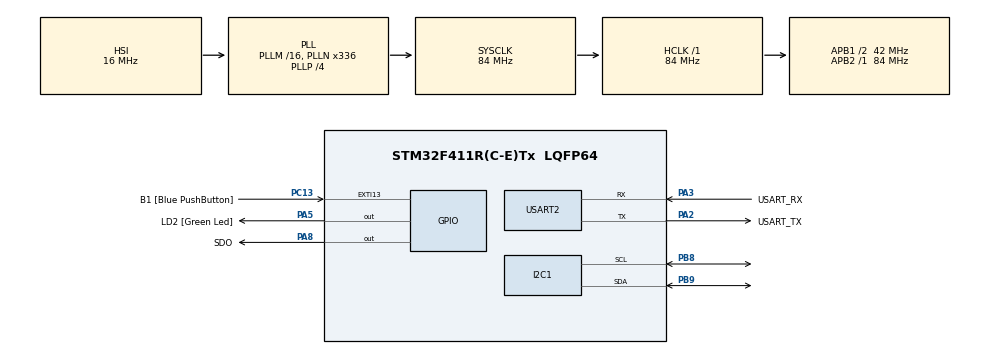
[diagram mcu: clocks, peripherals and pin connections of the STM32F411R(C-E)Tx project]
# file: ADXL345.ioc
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Mcu.Family=STM32F4
Mcu.Name=STM32F411R(C-E)Tx
Mcu.Package=LQFP64
NVIC.PriorityGroup=NVIC_PRIORITYGROUP_0
PA13.GPIO_Label=TMS
PA13.Mode=Serial_Wire
PA13.Signal=SYS_JTMS-SWDIO
PA14.GPIO_Label=TCK
PA14.Mode=Serial_Wire
PA14.Signal=SYS_JTCK-SWCLK
PA2.GPIO_Label=USART_TX
PA2.Mode=Asynchronous
PA2.Signal=USART2_TX
PA3.GPIO_Label=USART_RX
PA3.Mode=Asynchronous
PA3.Signal=USART2_RX
PA5.GPIO_Label=LD2 [Green Led]
PA5.Signal=GPIO_Output
PA8.GPIO_Label=SDO
PA8.Signal=GPIO_Output
PB3.GPIO_Label=SWO
PB3.Signal=SYS_JTDO-SWO
PB8.Mode=I2C
PB8.Signal=I2C1_SCL
PB9.Mode=I2C
PB9.Signal=I2C1_SDA
PC13-ANTI_TAMP.GPIO_Label=B1 [Blue PushButton]
PC13-ANTI_TAMP.GPIO_ModeDefaultEXTI=GPIO_MODE_IT_FALLING
PC13-ANTI_TAMP.Signal=GPXTI13
PC14-OSC32_IN.Mode=LSE-External-Oscillator
PC14-OSC32_IN.Signal=RCC_OSC32_IN
PC15-OSC32_OUT.Mode=LSE-External-Oscillator
PC15-OSC32_OUT.Signal=RCC_OSC32_OUT
PH0\ -\ OSC_IN.Mode=HSE-External-Clock-Source
PH0\ -\ OSC_IN.Signal=RCC_OSC_IN
PH1\ -\ OSC_OUT.Mode=HSE-External-Clock-Source
PH1\ -\ OSC_OUT.Signal=RCC_OSC_OUT
ProjectManager.HeapSize=0x200
ProjectManager.StackSize=0x400
ProjectManager.TargetToolchain=STM32CubeIDE
RCC.48MHZClocksFreq_Value=84000000
RCC.AHBFreq_Value=84000000
RCC.APB1CLKDivider=RCC_HCLK_DIV2
RCC.APB1Freq_Value=42000000
RCC.APB1TimFreq_Value=84000000
RCC.APB2Freq_Value=84000000
RCC.APB2TimFreq_Value=84000000
RCC.CortexFreq_Value=84000000
RCC.FLatency-AdvancedSettings=FLASH_LATENCY_2
RCC.HCLKFreq_Value=84000000
RCC.HSE_VALUE=8000000
RCC.HSI_VALUE=16000000
RCC.PLLN=336
RCC.PLLP=RCC_PLLP_DIV4
RCC.SYSCLKFreq_VALUE=84000000
RCC.SYSCLKSource=RCC_SYSCLKSOURCE_PLLCLK
RCC.VCOOutputFreq_Value=336000000
USART2.VirtualMode=VM_ASYNC
board=NUCLEO-F411RE

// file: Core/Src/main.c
/* USER CODE BEGIN Header */
/**
  ******************************************************************************
  * @file           : main.c
  * @brief          : Main program body
  ******************************************************************************
  * @attention
  *
  * Copyright (c) 2026 STMicroelectronics.
  * All rights reserved.
  *
  * This software is licensed under terms that can be found in the LICENSE file
  * in the root directory of this software component.
  * If no LICENSE file comes with this software, it is provided AS-IS.
  *
  ******************************************************************************
  */
/* USER CODE END Header */
#include "main.h"
#include "i2c.h"
#include "usart.h"
#include "gpio.h"

/* USER CODE BEGIN Includes */
#include <stdio.h>
#include "adxl345.h"
/* USER CODE END Includes */

/* USER CODE BEGIN PV */
uint8_t Buffer[25] = {0};
int16_t x, y, z;
/* USER CODE END PV */

void SystemClock_Config(void);

int main(void)
{

  /* USER CODE BEGIN 1 */
	// определяем где выполняется программа, и корректируем расположение
	// таблицы векторов
	uint32_t retPCasm(void); // небольшая функция для определения где
	// выполняется программа в FLASH или RAM
	if ((retPCasm() & 0x20000000) != 0)
	{
		*((uint32_t *)0xe000ed08) = 0x20000000; /* FlagDebugInRAM=1;*/
	}

  /* USER CODE END 1 */

  /* MCU Configuration--------------------------------------------------------*/

  /* Reset of all peripherals, Initializes the Flash interface and the Systick. */
  HAL_Init();

  /* Configure the system clock */
  SystemClock_Config();

  /* Initialize all configured peripherals */
  MX_GPIO_Init();
  MX_I2C1_Init();
  MX_USART2_UART_Init();

  /* Infinite loop */
  /* USER CODE BEGIN WHILE */
  HAL_GPIO_WritePin(SDO_GPIO_Port, SDO_Pin, GPIO_PIN_RESET);
  adxl_init();
  while (1)
  {
	  x = adxl_readx();
	  y = adxl_ready();
	  z = adxl_readz();
	  sprintf((char *)Buffer, "%d %d %d\r\n", x, y, z);
	  HAL_UART_Transmit(&huart2, Buffer, sizeof(Buffer), 10000);
	  HAL_Delay(200);
    /* USER CODE END WHILE */

  }
}

void SystemClock_Config(void)
{
  RCC_OscInitTypeDef RCC_OscInitStruct = {0};
  RCC_ClkInitTypeDef RCC_ClkInitStruct = {0};

  /** Configure the main internal regulator output voltage
  */
  __HAL_RCC_PWR_CLK_ENABLE();
  __HAL_PWR_VOLTAGESCALING_CONFIG(PWR_REGULATOR_VOLTAGE_SCALE1);

  /** Initializes the RCC Oscillators according to the specified parameters
  * in the RCC_OscInitTypeDef structure.
  */
  RCC_OscInitStruct.OscillatorType = RCC_OSCILLATORTYPE_HSI;
  RCC_OscInitStruct.HSIState = RCC_HSI_ON;
  RCC_OscInitStruct.HSICalibrationValue = RCC_HSICALIBRATION_DEFAULT;
  RCC_OscInitStruct.PLL.PLLState = RCC_PLL_ON;
  RCC_OscInitStruct.PLL.PLLSource = RCC_PLLSOURCE_HSI;
  RCC_OscInitStruct.PLL.PLLM = 16;
  RCC_OscInitStruct.PLL.PLLN = 336;
  RCC_OscInitStruct.PLL.PLLP = RCC_PLLP_DIV4;
  RCC_OscInitStruct.PLL.PLLQ = 4;
  if (HAL_RCC_OscConfig(&RCC_OscInitStruct) != HAL_OK)
  {
    Error_Handler();
  }

  /** Initializes the CPU, AHB and APB buses clocks
  */
  RCC_ClkInitStruct.ClockType = RCC_CLOCKTYPE_HCLK|RCC_CLOCKTYPE_SYSCLK
                              |RCC_CLOCKTYPE_PCLK1|RCC_CLOCKTYPE_PCLK2;
  RCC_ClkInitStruct.SYSCLKSource = RCC_SYSCLKSOURCE_PLLCLK;
  RCC_ClkInitStruct.AHBCLKDivider = RCC_SYSCLK_DIV1;
  RCC_ClkInitStruct.APB1CLKDivider = RCC_HCLK_DIV2;
  RCC_ClkInitStruct.APB2CLKDivider = RCC_HCLK_DIV1;

  if (HAL_RCC_ClockConfig(&RCC_ClkInitStruct, FLASH_LATENCY_2) != HAL_OK)
  {
    Error_Handler();
  }
}

void Error_Handler(void)
{
  __disable_irq();
  while (1)
  {
  }
}
